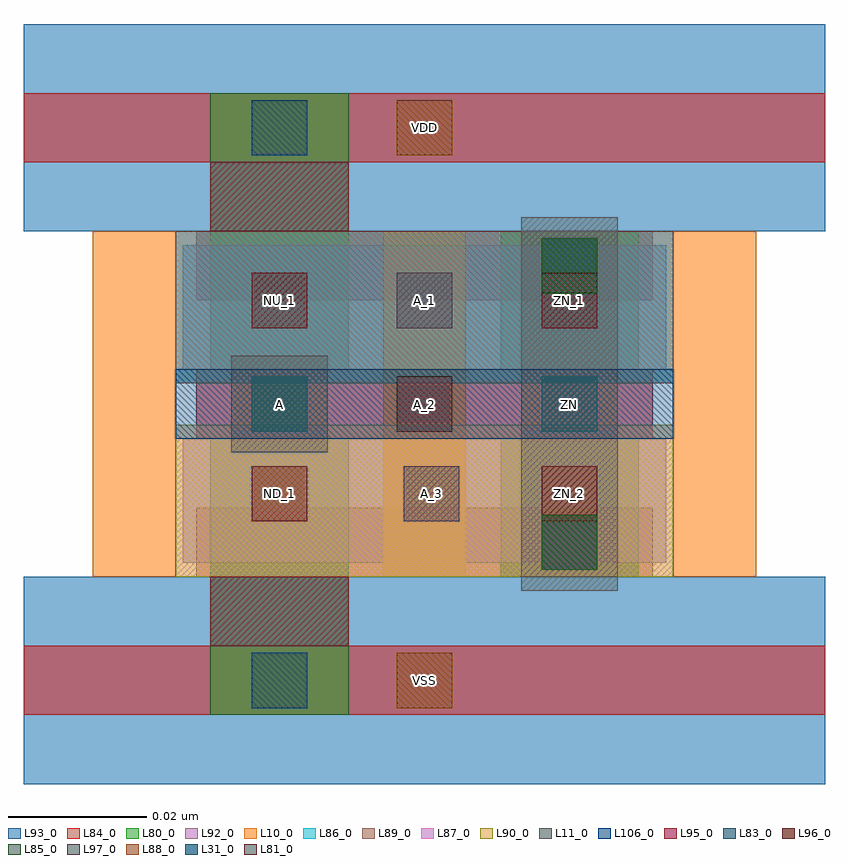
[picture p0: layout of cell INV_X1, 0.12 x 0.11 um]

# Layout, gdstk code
import gdstk
lib = gdstk.Library(unit=1e-6, precision=1e-09)
def R(c, l, rs):  # rectangles x0, y0, x1, y1
    for r in rs: c.add(gdstk.rectangle(r[:2], r[2:], *l))
def A(c, l, x, y, w, h, nx, ny, dx, dy):  # array of equal rectangles
    R(c, l, [(x+i*dx, y+j*dy, x+i*dx+w, y+j*dy+h) for i in range(nx) for j in range(ny)])
L10_0 = (10, 0)
L11_0 = (11, 0)
L31_0 = (31, 0)
L80_0 = (80, 0)
L81_0 = (81, 0)
L83_0 = (83, 0)
L84_0 = (84, 0)
L85_0 = (85, 0)
L86_0 = (86, 0)
L87_0 = (87, 0)
L88_0 = (88, 0)
L89_0 = (89, 0)
L90_0 = (90, 0)
L92_0 = (92, 0)
L93_0 = (93, 0)
L95_0 = (95, 0)
L96_0 = (96, 0)
L97_0 = (97, 0)
L106_0 = (106, 0)

inv_x1 = lib.new_cell('INV_X1')
A(inv_x1, L10_0, -0.027, 0.015, 0.012, 0.05, 3, 1, 0.042, 0)
R(inv_x1, L11_0, [(0.035,0.013,0.049,0.047), (-0.007,0.033,0.007,0.047), (0.035,0.033,0.049,0.067)])
R(inv_x1, L31_0, [(-0.004,0.036,0.004,0.044), (0.038,0.036,0.046,0.044)])
R(inv_x1, L80_0, [(-0.01,-0.005,0.01,0.016), (-0.01,0.015,0.01,0.035), (0.032,0.015,0.052,0.035), (-0.01,0.045,0.01,0.065), (-0.01,0.045,0.01,0.065), (0.032,0.045,0.052,0.065), (0.032,0.045,0.052,0.065), (-0.01,0.056,0.01,0.085)])
R(inv_x1, L81_0, [(0.017,0.036,0.025,0.044)])
R(inv_x1, L83_0, [(-0.004,-0.004,0.004,0.004), (0.038,0.016,0.046,0.024), (0.038,0.056,0.046,0.064), (-0.004,0.076,0.004,0.084)])
A(inv_x1, L84_0, -0.012, 0.015, 0.066, 0.01, 1, 3, 0, 0.02)
R(inv_x1, L84_0, [(-0.037,-0.005,0.079,0.005), (0.037,0.015,0.047,0.025), (0.037,0.055,0.047,0.065), (-0.037,0.075,0.079,0.085)])
R(inv_x1, L85_0, [(0.038,0.016,0.046,0.024), (-0.004,0.036,0.004,0.044), (0.038,0.056,0.046,0.064)])
R(inv_x1, L86_0, [(-0.015,0.043,0.057,0.065)])
R(inv_x1, L87_0, [(-0.015,0.015,0.057,0.037)])
R(inv_x1, L88_0, [(0.017,-0.004,0.025,0.004), (0.017,0.076,0.025,0.084)])
R(inv_x1, L89_0, [(-0.015,0.043,0.057,0.065)])
R(inv_x1, L90_0, [(-0.015,0.015,0.057,0.037)])
R(inv_x1, L92_0, [(-0.014,0.017,0.056,0.035), (-0.014,0.045,0.056,0.063)])
R(inv_x1, L93_0, [(-0.037,-0.015,0.079,0.015), (-0.037,0.065,0.079,0.095)])
R(inv_x1, L95_0, [(-0.01,0.005,0.01,0.015), (-0.01,0.065,0.01,0.075)])
R(inv_x1, L96_0, [(-0.004,0.023,0.004,0.031), (0.038,0.023,0.046,0.031), (-0.004,0.051,0.004,0.059), (0.038,0.051,0.046,0.059)])
R(inv_x1, L97_0, [(0.018,0.023,0.026,0.031), (0.017,0.036,0.025,0.044), (0.017,0.051,0.025,0.059)])
R(inv_x1, L106_0, [(-0.015,0.035,0.057,0.045)])
inv_x1.add(gdstk.Label('VDD', (0.021,0.08), layer=88, texttype=0))
inv_x1.add(gdstk.Label('VSS', (0.021,0), layer=88, texttype=0))
inv_x1.add(gdstk.Label('NU_1', (0,0.055), layer=96, texttype=0))
inv_x1.add(gdstk.Label('ND_1', (0,0.027), layer=96, texttype=0))
inv_x1.add(gdstk.Label('ZN_2', (0.042,0.027), layer=96, texttype=0))
inv_x1.add(gdstk.Label('ZN_1', (0.042,0.055), layer=96, texttype=0))
inv_x1.add(gdstk.Label('A_3', (0.022,0.027), layer=97, texttype=0))
inv_x1.add(gdstk.Label('A_2', (0.021,0.04), layer=97, texttype=0))
inv_x1.add(gdstk.Label('A_1', (0.021,0.055), layer=97, texttype=0))
inv_x1.add(gdstk.Label('ZN', (0.042,0.04), layer=31, texttype=0))
inv_x1.add(gdstk.Label('A', (0,0.04), layer=31, texttype=0))

lib.write_gds('INV_X1.gds')
